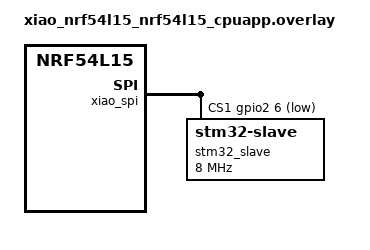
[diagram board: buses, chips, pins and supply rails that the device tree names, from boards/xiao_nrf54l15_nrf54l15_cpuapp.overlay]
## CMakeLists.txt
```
#
# Copyright (c) 2018 Nordic Semiconductor
#
# SPDX-License-Identifier: LicenseRef-Nordic-5-Clause
#
cmake_minimum_required(VERSION 3.20.0)

set(BOARD_FLASH_RUNNER nrfutil)
set(BOARD_ROOT $ENV{ZEPHYR_BASE} CACHE PATH "" FORCE)
find_package(Zephyr REQUIRED HINTS $ENV{ZEPHYR_BASE})
project(app_ble_receiver)

include(${CMAKE_CURRENT_SOURCE_DIR}/../common/CMakeLists.txt)

target_sources(app PRIVATE
    src/main.cpp
    src/ble_sensor_gateway.cpp
    src/pressure_insole.c
    src/wit_imu.c
)
```

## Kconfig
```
#
# Copyright (c) 2025
#
# SPDX-License-Identifier: LicenseRef-Nordic-5-Clause
#

source "Kconfig.zephyr"

rsource "../common/Kconfig"
```

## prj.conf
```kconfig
#
# Copyright (c) 2019 Nordic Semiconductor ASA
#
# SPDX-License-Identifier: LicenseRef-Nordic-5-Clause
#

#------ APP node ID ----
# EXO_NODE_BLE_RECEIVER
CONFIG_EXO_NODE_ID=6

#------ logging AND console ----
CONFIG_NCS_BOOT_BANNER=n
CONFIG_BOOT_BANNER=n
CONFIG_LOG=y
CONFIG_CONSOLE=n
CONFIG_PRINTK=n
CONFIG_USE_SEGGER_RTT=y
CONFIG_RTT_CONSOLE=n
CONFIG_UART_CONSOLE=n
CONFIG_LOG_BACKEND_RTT=y
CONFIG_LOG_BACKEND_RTT_MODE_DROP=y
CONFIG_LOG_BACKEND_RTT_MODE_BLOCK=n
CONFIG_LOG_MODE_OVERFLOW=y
CONFIG_LOG_PROCESS_THREAD_SLEEP_MS=10

#------ CPP -----
CONFIG_CPP=y

#------ FPU -----
CONFIG_FPU=y
CONFIG_NEWLIB_LIBC=y

#------ HEAP -----
CONFIG_HEAP_MEM_POOL_SIZE=8192

#------ GPIO -----
CONFIG_GPIO=y

#------ UART -----
CONFIG_SERIAL=n
CONFIG_UART_ASYNC_API=n

#------ BLE Central -----
CONFIG_BT=y
CONFIG_BT_CENTRAL=y
CONFIG_BT_OBSERVER=y
CONFIG_BT_DEVICE_NAME="Exo_BLE_Gateway"
CONFIG_BT_MAX_CONN=6
CONFIG_BT_MAX_PAIRED=6

# High-throughput BLE sensor links
CONFIG_BT_PHY_UPDATE=y
CONFIG_BT_USER_PHY_UPDATE=y
CONFIG_BT_AUTO_PHY_CENTRAL_NONE=y
CONFIG_BT_DATA_LEN_UPDATE=y
CONFIG_BT_USER_DATA_LEN_UPDATE=y
CONFIG_BT_L2CAP_TX_MTU=247
CONFIG_BT_BUF_ACL_TX_SIZE=251
CONFIG_BT_BUF_ACL_RX_SIZE=251
CONFIG_BT_BUF_ACL_TX_COUNT=3
CONFIG_BT_BUF_EVT_RX_COUNT=8
CONFIG_BT_BUF_ACL_RX_COUNT_EXTRA=28
CONFIG_BT_L2CAP_TX_BUF_COUNT=3
CONFIG_BT_ATT_TX_COUNT=6

# Scan configuration (nRF Scan library)
CONFIG_BT_SCAN=y
CONFIG_BT_SCAN_FILTER_ENABLE=y
CONFIG_BT_SCAN_ADDRESS_CNT=6

# GATT client for service/characteristic discovery
CONFIG_BT_GATT_CLIENT=y

#------ SPI -----
CONFIG_SPI=y

# No ESB, No I2C
```

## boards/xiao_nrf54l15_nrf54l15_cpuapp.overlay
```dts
/* BLE central sensor gateway with an SPI link to STM32. */

#include "../../common/boards/xiao_base.overlay"

&i2c22 { status = "disabled"; };
&i2c30 { status = "disabled"; };

/* CS index 1 is wired to the STM32 interface. */
&xiao_spi {
	status = "okay";
	compatible = "nordic,nrf-spim";
	cs-gpios = <&gpio1 12 GPIO_ACTIVE_LOW>, <&gpio2 6 GPIO_ACTIVE_LOW>;

	stm32_slave: stm32_slave@1 {
		status = "okay";
		compatible = "stm32-slave";
		reg = <1>;
		spi-max-frequency = <8000000>;
	};
};
```

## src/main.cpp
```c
/*
 * Copyright (c) 2018 Nordic Semiconductor ASA
 *
 * SPDX-License-Identifier: LicenseRef-Nordic-5-Clause
 */

#include <zephyr/kernel.h>
#include <zephyr/drivers/spi.h>
#include <zephyr/logging/log.h>

#include "ble_sensor_gateway.hpp"
#include "bsp_ble.h"
#include "bsp_ble_central.h"
#include "bsp_led.h"
#include "main.h"

LOG_MODULE_REGISTER(main, LOG_LEVEL_INF);

/* ── SPI slave to STM32 ──────────────────────────────────────────── */

static const struct spi_dt_spec stm32_slave_spec = SPI_DT_SPEC_GET(
  DT_NODELABEL(stm32_slave),
  SPI_WORD_SET(8) | SPI_TRANSFER_MSB);

static exo_ble_sensor_packet_t tx_snapshot;
static struct spi_buf tx_spi_buf = {
  .buf = &tx_snapshot,
  .len = sizeof(exo_ble_sensor_packet_t),
};
static struct spi_buf_set tx_set = {.buffers = &tx_spi_buf, .count = 1};

/* ── Main ──────────────────────────────────────────────────────────── */

static K_SEM_DEFINE(k_timer_sem, 0, 1);
static struct k_timer k_timer;
static void k_timer_expiry(struct k_timer *timer)
{
  ARG_UNUSED(timer);
  k_sem_give(&k_timer_sem);
}

int main(void)
{
  int err;
  size_t profile_count = 0U;
  const struct ble_device_profile *profiles;

  bsp_led_init();

  if (!spi_is_ready_dt(&stm32_slave_spec))
  {
    LOG_ERR("STM32 SPI device is not ready");
    return 0;
  }

  err = bsp_ble_init();
  if (err)
  {
    LOG_ERR("bsp_ble_init() failed, err %d", err);
    return 0;
  }

  profiles = ble_sensor_gateway_profiles(&profile_count);
  err = bsp_ble_central_start(profiles, (uint8_t)profile_count);
  if (err)
  {
    LOG_ERR("bsp_ble_central_start() failed, err %d", err);
    return 0;
  }

  LOG_INF("BLE Gateway: scanning for %u sensors across %u profiles",
          (unsigned int)ble_sensor_gateway_target_count(),
          (unsigned int)profile_count);

  k_timer_init(&k_timer, k_timer_expiry, NULL);
  k_timer_start(&k_timer, K_USEC(SAMPLE_PERIOD_US), K_USEC(SAMPLE_PERIOD_US));

  while (1)
  {
    k_sem_take(&k_timer_sem, K_FOREVER);

    if (!(bsp_ble_central_all_links_ready() && ble_sensor_gateway_streams_ready()))
    {
      continue;
    }

    ble_sensor_gateway_copy_packet(&tx_snapshot);

    int spi_err = spi_write_dt(&stm32_slave_spec, &tx_set);
    if (spi_err)
    {
      LOG_ERR_RATELIMIT_RATE(1000, "spi_write_dt() failed, err %d", spi_err);
    }
  }

  return 0;
}
```

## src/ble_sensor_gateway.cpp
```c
#include "ble_sensor_gateway.hpp"

#include <string.h>

#include <zephyr/bluetooth/addr.h>
#include <zephyr/bluetooth/gatt.h>
#include <zephyr/bluetooth/uuid.h>
#include <zephyr/kernel.h>
#include <zephyr/logging/log.h>

#include "bsp_led.h"
#include "pressure_insole.h"
#include "wit_imu.h"

LOG_MODULE_REGISTER(ble_sensor_gateway, LOG_LEVEL_INF);

#define SENSOR_STREAM_BUF_SIZE 256
#define SENSOR_LOG_EVERY_N_FRAMES 1000U
#define SENSOR_READY_MIN_FRAMES 5U
#define SENSOR_STALE_TIMEOUT_MS 500U
#define SENSOR_STATS_EVERY_N_FRAMES 1000U

struct sensor_stream_state
{
  bool in_use;
  bt_addr_le_t addr;
  uint8_t buf[SENSOR_STREAM_BUF_SIZE];
  size_t len;
  uint32_t frames;
  uint32_t last_notify_ms;
  uint32_t max_notify_interval_ms;
  uint16_t max_notify_len;
  uint8_t max_frames_per_notify;
};

struct sensor_rx_state
{
  uint32_t frames;
  uint32_t last_update_ms;
  uint32_t max_interval_ms;
};

static sensor_stream_state sensor_streams[CONFIG_BT_MAX_CONN];
static sensor_rx_state imu_rx_states[EXO_BLE_IMU_COUNT];
static sensor_rx_state insole_rx_states[EXO_BLE_INSOLE_COUNT];
static struct k_spinlock packet_lock;
static uint32_t global_frame_count;

static struct bt_uuid_128 imu_svc_uuid = BT_UUID_INIT_128(
  BT_UUID_128_ENCODE(0x0000FFE5, 0x0000, 0x1000, 0x8000, 0x00805F9A34FB));
static struct bt_uuid_128 imu_notify_uuid = BT_UUID_INIT_128(
  BT_UUID_128_ENCODE(0x0000FFE4, 0x0000, 0x1000, 0x8000, 0x00805F9A34FB));

static bt_addr_le_t imu_macs[] = {
  /* [0] left shank  - F3:BE:1E:29:60:D0 */ {BT_ADDR_LE_RANDOM, {{0xD0, 0x60, 0x29, 0x1E, 0xBE, 0xF3}}},
  /* [1] right shank - E8:16:43:84:A1:68 */ {BT_ADDR_LE_RANDOM, {{0x68, 0xA1, 0x84, 0x43, 0x16, 0xE8}}},
  /* [2] left thigh  - DB:FD:BB:F0:5E:07 */ {BT_ADDR_LE_RANDOM, {{0x07, 0x5E, 0xF0, 0xBB, 0xFD, 0xDB}}},
  /* [3] right thigh - F8:48:DF:38:CE:0A */ {BT_ADDR_LE_RANDOM, {{0x0A, 0xCE, 0x38, 0xDF, 0x48, 0xF8}}},
};

BUILD_ASSERT(ARRAY_SIZE(imu_macs) == EXO_BLE_IMU_COUNT,
             "imu_macs must match EXO_BLE_IMU_COUNT");

static sensor_stream_state *sensor_stream_for_addr(const bt_addr_le_t *addr)
{
  for (size_t i = 0; i < ARRAY_SIZE(sensor_streams); i++)
  {
    if (sensor_streams[i].in_use && bt_addr_le_cmp(&sensor_streams[i].addr, addr) == 0)
    {
      return &sensor_streams[i];
    }
  }

  for (size_t i = 0; i < ARRAY_SIZE(sensor_streams); i++)
  {
    if (!sensor_streams[i].in_use)
    {
      memset(&sensor_streams[i], 0, sizeof(sensor_streams[i]));
      sensor_streams[i].in_use = true;
      bt_addr_le_copy(&sensor_streams[i].addr, addr);
      return &sensor_streams[i];
    }
  }

  return NULL;
}

static void sensor_stream_drop(sensor_stream_state *stream, size_t count)
{
  if (count >= stream->len)
  {
    stream->len = 0;
    return;
  }

  memmove(stream->buf, stream->buf + count, stream->len - count);
  stream->len -= count;
}

static bool sensor_stream_append(sensor_stream_state *stream, const uint8_t *data, size_t len)
{
  if (len > sizeof(stream->buf))
  {
    data += len - sizeof(stream->buf);
    len = sizeof(stream->buf);
    stream->len = 0;
  }

  if (stream->len + len > sizeof(stream->buf))
  {
    LOG_WRN("Sensor stream overflow for %02X, dropping buffered %u bytes",
            stream->addr.a.val[5],
            (unsigned int)stream->len);
    stream->len = 0;
  }

  memcpy(stream->buf + stream->len, data, len);
  stream->len += len;
  return true;
}

static bool sensor_state_ready(const sensor_rx_state *state, uint32_t now_ms)
{
  return state->frames >= SENSOR_READY_MIN_FRAMES &&
         (uint32_t)(now_ms - state->last_update_ms) <= SENSOR_STALE_TIMEOUT_MS;
}

static size_t find_imu_frame_start(const uint8_t *data, size_t len)
{
  for (size_t i = 0; i + 1 < len; i++)
  {
    if (data[i] == WIT_FRAME_HEADER && data[i + 1] == WIT_FRAME_FLAG_ACC_GYRO_ANGLE)
    {
      return i;
    }
  }

  return len;
}

static int imu_slot_from_addr(const bt_addr_le_t *addr)
{
  for (size_t i = 0; i < ARRAY_SIZE(imu_macs); i++)
  {
    if (bt_addr_le_cmp(addr, &imu_macs[i]) == 0)
    {
      return (int)i;
    }
  }

  return -ENOENT;
}

static void update_imu_packet(uint8_t slot, const wit_imu_data_t *imu)
{
  if (slot >= EXO_BLE_IMU_COUNT || imu == NULL)
  {
    return;
  }

  uint32_t now_ms = k_uptime_get_32();
  bool toggle_led;
  uint32_t interval_ms = 0U;
  uint32_t frames;
  uint32_t max_interval_ms;
  bool log_stats;
  k_spinlock_key_t key = k_spin_lock(&packet_lock);

  exo_ble_sensor_data.imu[slot].gyro_radps[0] = imu->wx * (3.14159265f / 180.0f);
  exo_ble_sensor_data.imu[slot].gyro_radps[1] = imu->wy * (3.14159265f / 180.0f);
  exo_ble_sensor_data.imu[slot].gyro_radps[2] = imu->wz * (3.14159265f / 180.0f);

  exo_ble_sensor_data.imu[slot].euler_rad[0] = imu->roll * (3.14159265f / 180.0f);
  exo_ble_sensor_data.imu[slot].euler_rad[1] = imu->pitch * (3.14159265f / 180.0f);
  exo_ble_sensor_data.imu[slot].euler_rad[2] = imu->yaw * (3.14159265f / 180.0f);

  if (imu_rx_states[slot].last_update_ms != 0U)
  {
    interval_ms = now_ms - imu_rx_states[slot].last_update_ms;
    if (interval_ms > imu_rx_states[slot].max_interval_ms)
    {
      imu_rx_states[slot].max_interval_ms = interval_ms;
    }
  }

  imu_rx_states[slot].frames++;
  imu_rx_states[slot].last_update_ms = now_ms;
  frames = imu_rx_states[slot].frames;
  max_interval_ms = imu_rx_states[slot].max_interval_ms;
  log_stats = (frames % SENSOR_STATS_EVERY_N_FRAMES) == 0U;
  if (log_stats)
  {
    imu_rx_states[slot].max_interval_ms = 0U;
  }

  global_frame_count++;
  toggle_led = (global_frame_count % 100U) == 0U;

  k_spin_unlock(&packet_lock, key);

  if (log_stats)
  {
    LOG_INF("[IMU %u] sample frames=%u last_dt=%u ms window_max_dt=%u ms",
            slot,
            frames,
            interval_ms,
            max_interval_ms);
  }

  if (toggle_led)
  {
    bsp_led_toggle();
  }
}

static void log_imu_frame(sensor_stream_state *stream, uint8_t slot, const wit_imu_data_t *parsed)
{
  stream->frames++;
  if ((stream->frames % SENSOR_LOG_EVERY_N_FRAMES) == 0U)
  {
    LOG_INF("[IMU %u %02X:%02X] roll=%.1f pitch=%.1f yaw=%.1f frames=%u",
            slot,
            stream->addr.a.val[5],
            stream->addr.a.val[4],
            static_cast<double>(parsed->roll),
            static_cast<double>(parsed->pitch),
            static_cast<double>(parsed->yaw),
            stream->frames);
    LOG_INF("[IMU %u] notify dt_max=%u ms len_max=%u frames_max=%u",
            slot,
            stream->max_notify_interval_ms,
            stream->max_notify_len,
            stream->max_frames_per_notify);

    stream->max_notify_interval_ms = 0U;
    stream->max_notify_len = 0U;
    stream->max_frames_per_notify = 0U;
  }
}

static void imu_raw_cb(const bt_addr_le_t *addr, const uint8_t *data, size_t len)
{
  int slot = imu_slot_from_addr(addr);
  sensor_stream_state *stream = sensor_stream_for_addr(addr);
  uint32_t now_ms = k_uptime_get_32();
  uint8_t frames_in_notify = 0U;

  if (slot < 0 || !stream || !sensor_stream_append(stream, data, len))
  {
    return;
  }

  if (stream->last_notify_ms != 0U)
  {
    uint32_t notify_interval_ms = now_ms - stream->last_notify_ms;
    if (notify_interval_ms > stream->max_notify_interval_ms)
    {
      stream->max_notify_interval_ms = notify_interval_ms;
    }
  }

  stream->last_notify_ms = now_ms;
  if (len > stream->max_notify_len)
  {
    stream->max_notify_len = (uint16_t)MIN(len, UINT16_MAX);
  }

  while (stream->len >= 2U)
  {
    size_t frame_start = find_imu_frame_start(stream->buf, stream->len);
    if (frame_start > 0U)
    {
      sensor_stream_drop(stream, frame_start);
    }

    if (stream->len < WIT_FRAME_LEN)
    {
      break;
    }

    wit_imu_data_t parsed;
    if (wit_imu_parse(stream->buf, WIT_FRAME_LEN, &parsed))
    {
      update_imu_packet((uint8_t)slot, &parsed);
      if (frames_in_notify < UINT8_MAX)
      {
        frames_in_notify++;
      }

      log_imu_frame(stream, (uint8_t)slot, &parsed);
      sensor_stream_drop(stream, WIT_FRAME_LEN);
    }
    else
    {
      sensor_stream_drop(stream, 1U);
    }
  }

  if (frames_in_notify > stream->max_frames_per_notify)
  {
    stream->max_frames_per_notify = frames_in_notify;
  }
}

/* -- Pressure insole profile --------------------------------- */

static struct bt_uuid_128 insole_svc_uuid = BT_UUID_INIT_128(
  BT_UUID_128_ENCODE(0xFE7B000A, 0xF4BB, 0x41DD, 0xA968, 0xDEB694CE2365));
static struct bt_uuid_128 insole_notify_uuid = BT_UUID_INIT_128(
  BT_UUID_128_ENCODE(0xFE7B000B, 0xF4BB, 0x41DD, 0xA968, 0xDEB694CE2365));
static struct bt_uuid_128 insole_write_uuid = BT_UUID_INIT_128(
  BT_UUID_128_ENCODE(0xFE7B000C, 0xF4BB, 0x41DD, 0xA968, 0xDEB694CE2365));

static bt_addr_le_t insole_macs[] = {
  /* [0] left foot  - CA:E8:5C:D4:08:54 */ {BT_ADDR_LE_RANDOM, {{0x54, 0x08, 0xD4, 0x5C, 0xE8, 0xCA}}},
   /* [1] right foot - F7:67:CA:78:3F:AF */ {BT_ADDR_LE_RANDOM, {{0xAF, 0x3F, 0x78, 0xCA, 0x67, 0xF7}}},
};

static int insole_slot_from_addr(const bt_addr_le_t *addr)
{
  for (size_t i = 0; i < ARRAY_SIZE(insole_macs); i++)
  {
    if (bt_addr_le_cmp(addr, &insole_macs[i]) == 0) { return (int)i; }
  }
  return -ENOENT;
}

static void update_insole_packet(uint8_t slot, const pressure_insole_data_t *parsed)
{
  if (slot >= EXO_BLE_INSOLE_COUNT || parsed == NULL) { return; }

  k_spinlock_key_t key = k_spin_lock(&packet_lock);

  memcpy(exo_ble_sensor_data.insole[slot].channels, parsed->channels,
         sizeof(exo_ble_sensor_data.insole[slot].channels));

  uint32_t now_ms = k_uptime_get_32();
  insole_rx_states[slot].frames++;
  insole_rx_states[slot].last_update_ms = now_ms;

  k_spin_unlock(&packet_lock, key);
}

static void insole_raw_cb(const bt_addr_le_t *addr, const uint8_t *data, size_t len)
{
  int slot = insole_slot_from_addr(addr);
  if (slot < 0) { return; }

  pressure_insole_data_t parsed;
  if (pressure_insole_parse(data, len, &parsed))
  {
    update_insole_packet((uint8_t)slot, &parsed);
  }
}

/* Send start command (0xAA 0x0D 0x55 0x0A) to insole after subscribe */
static void insole_post_subscribe_cb(struct bt_conn *conn, uint16_t write_handle)
{
  if (write_handle == 0) { return; }

  static const uint8_t start_cmd[] = {0xAA, 0x0D, 0x55, 0x0A};

  int err = bt_gatt_write_without_response(conn, write_handle, start_cmd,
                                           sizeof(start_cmd), false);
  if (err)
  {
    LOG_WRN("insole start cmd write failed (err %d)", err);
  }
  else
  {
    LOG_INF("insole start cmd sent");
  }
}

/* -- Device profiles --------------------------------- */

static struct ble_device_profile device_profiles[] = {
  {
    .macs = imu_macs,
    .mac_count = ARRAY_SIZE(imu_macs),
    .svc_uuid = (struct bt_uuid *)&imu_svc_uuid,
    .chrc_uuid = (struct bt_uuid *)&imu_notify_uuid,
    .data_cb = imu_raw_cb,
  },
  {
    .macs = insole_macs,
    .mac_count = ARRAY_SIZE(insole_macs),
    .svc_uuid = (struct bt_uuid *)&insole_svc_uuid,
    .chrc_uuid = (struct bt_uuid *)&insole_notify_uuid,
    .write_chrc_uuid = (struct bt_uuid *)&insole_write_uuid,
    .data_cb = insole_raw_cb,
    .post_subscribe_cb = insole_post_subscribe_cb,
  },
};


const struct ble_device_profile *ble_sensor_gateway_profiles(size_t *count)
{
  if (count)
  {
    *count = ARRAY_SIZE(device_profiles);
  }

  return device_profiles;
}

size_t ble_sensor_gateway_target_count(void)
{
  size_t total = 0U;

  for (size_t i = 0; i < ARRAY_SIZE(device_profiles); i++)
  {
    total += device_profiles[i].mac_count;
  }

  return total;
}

bool ble_sensor_gateway_streams_ready(void)
{
  bool ready = true;
  uint32_t now_ms = k_uptime_get_32();
  k_spinlock_key_t key = k_spin_lock(&packet_lock);

  for (size_t i = 0; i < ARRAY_SIZE(imu_rx_states); i++)
  {
    if (!sensor_state_ready(&imu_rx_states[i], now_ms))
    {
      ready = false;
      break;
    }
  }

  for (size_t i = 0; i < ARRAY_SIZE(insole_rx_states); i++)
  {
    if (!sensor_state_ready(&insole_rx_states[i], now_ms))
    {
      ready = false;
      break;
    }
  }

  k_spin_unlock(&packet_lock, key);
  return ready;
}

void ble_sensor_gateway_copy_packet(exo_ble_sensor_packet_t *snapshot)
{
  if (snapshot == NULL)
  {
    return;
  }

  k_spinlock_key_t key = k_spin_lock(&packet_lock);

  memcpy(snapshot, &exo_ble_sensor_data, sizeof(*snapshot));

  k_spin_unlock(&packet_lock, key);
}
```

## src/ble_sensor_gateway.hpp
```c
#ifndef BLE_SENSOR_GATEWAY_HPP
#define BLE_SENSOR_GATEWAY_HPP

#include <stddef.h>

#include "bsp_ble_central.h"
#include "main.h"

const struct ble_device_profile *ble_sensor_gateway_profiles(size_t *count);
size_t ble_sensor_gateway_target_count(void);
bool ble_sensor_gateway_streams_ready(void);
void ble_sensor_gateway_copy_packet(exo_ble_sensor_packet_t *snapshot);

#endif /* BLE_SENSOR_GATEWAY_HPP */
```

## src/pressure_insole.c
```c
#include "pressure_insole.h"

#include <string.h>

bool pressure_insole_parse(const uint8_t *raw, size_t len, pressure_insole_data_t *out)
{
  if (raw == NULL || out == NULL || len < INSOLE_FRAME_LEN)
  {
    return false;
  }

  if (raw[0] != INSOLE_HEADER || raw[INSOLE_FRAME_LEN - 1] != INSOLE_FOOTER)
  {
    return false;
  }

  uint8_t checksum = 0U;
  for (size_t i = 0; i < INSOLE_FRAME_LEN - 2U; i++)
  {
    checksum += raw[i];
  }

  if (checksum != raw[INSOLE_FRAME_LEN - 2U])
  {
    return false;
  }

  const pressure_insole_frame_t *frame = (const pressure_insole_frame_t *)raw;

  out->id = frame->id;
  memcpy(out->channels, frame->ch, sizeof(out->channels));
  return true;
}
```

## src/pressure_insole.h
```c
#ifndef PRESSURE_INSOLE_H
#define PRESSURE_INSOLE_H

#include <stddef.h>
#include <stdint.h>

#include <zephyr/sys/util.h>

#ifdef __cplusplus
extern "C"
{
#endif

#define INSOLE_FRAME_LEN 24
#define INSOLE_HEADER 0xAA
#define INSOLE_FOOTER 0x55
#define INSOLE_CHANNEL_COUNT 8

typedef struct __attribute__((packed)) pressure_insole_frame_t
{
  uint8_t header;
  uint8_t len;
  uint32_t id;
  int16_t ch[INSOLE_CHANNEL_COUNT];
  uint8_t checksum;
  uint8_t footer;
} pressure_insole_frame_t;

BUILD_ASSERT(sizeof(pressure_insole_frame_t) == INSOLE_FRAME_LEN,
             "pressure_insole_frame_t must be 24 bytes");

typedef struct
{
  uint32_t id;
  int16_t channels[INSOLE_CHANNEL_COUNT];
} pressure_insole_data_t;

bool pressure_insole_parse(const uint8_t *raw, size_t len, pressure_insole_data_t *out);

#ifdef __cplusplus
}
#endif

#endif /* PRESSURE_INSOLE_H */
```

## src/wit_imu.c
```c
#include "wit_imu.h"

bool wit_imu_parse(const uint8_t *raw, size_t len, wit_imu_data_t *out)
{
  if (raw == NULL || out == NULL || len < WIT_FRAME_LEN)
  {
    return false;
  }

  const wit_imu_raw_frame_t *frame = (const wit_imu_raw_frame_t *)raw;

  if (frame->header != WIT_FRAME_HEADER ||
      frame->flag != WIT_FRAME_FLAG_ACC_GYRO_ANGLE)
  {
    return false;
  }

  out->ax = wit_imu_convert(frame->ax, 16.0f * 9.8f);
  out->ay = wit_imu_convert(frame->ay, 16.0f * 9.8f);
  out->az = wit_imu_convert(frame->az, 16.0f * 9.8f);
  out->wx = wit_imu_convert(frame->wx, 2000.0f);
  out->wy = wit_imu_convert(frame->wy, 2000.0f);
  out->wz = wit_imu_convert(frame->wz, 2000.0f);
  out->roll = wit_imu_convert(frame->roll, 180.0f);
  out->pitch = wit_imu_convert(frame->pitch, 180.0f);
  out->yaw = wit_imu_convert(frame->yaw, 180.0f);

  return true;
}
```

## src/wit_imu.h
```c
#ifndef WIT_IMU_H
#define WIT_IMU_H

#include <stdint.h>
#include <stdbool.h>
#include <stddef.h>
#include <zephyr/sys/util.h>

#ifdef __cplusplus
extern "C"
{
#endif

/* WitMotion WT901BLE data frame (20 bytes) */
#define WIT_FRAME_LEN 20
#define WIT_FRAME_HEADER 0x55
#define WIT_FRAME_FLAG_ACC_GYRO_ANGLE 0x61

typedef struct __attribute__((packed)) wit_imu_raw_frame_t
{
  uint8_t header; /* 0x55 */
  uint8_t flag; /* 0x61 = acc+gyro+angle */
  int16_t ax; /* X accel, raw */
  int16_t ay; /* Y accel, raw */
  int16_t az; /* Z accel, raw */
  int16_t wx; /* X gyro, raw */
  int16_t wy; /* Y gyro, raw */
  int16_t wz; /* Z gyro, raw */
  int16_t roll; /* X angle, raw */
  int16_t pitch; /* Y angle, raw */
  int16_t yaw; /* Z angle, raw */
} wit_imu_raw_frame_t;

BUILD_ASSERT(sizeof(wit_imu_raw_frame_t) == WIT_FRAME_LEN,
             "wit_imu_raw_frame_t must be 20 bytes");

typedef struct
{
  float ax, ay, az; /* acceleration (m/s²) */
  float wx, wy, wz; /* angular velocity (°/s) */
  float roll, pitch, yaw; /* angle (°) */
} wit_imu_data_t;

/**
 * @brief Parse a raw 20-byte WitMotion frame into engineering units.
 * @return true if frame header/flag valid, false otherwise.
 */
bool wit_imu_parse(const uint8_t *raw, size_t len, wit_imu_data_t *out);

/**
 * @brief Convert a raw int16_t sensor value to float.
 */
static inline float wit_imu_convert(int16_t raw, float range)
{
  return (float)raw / 32768.0f * range;
}

#ifdef __cplusplus
}
#endif

#endif /* WIT_IMU_H */
```
